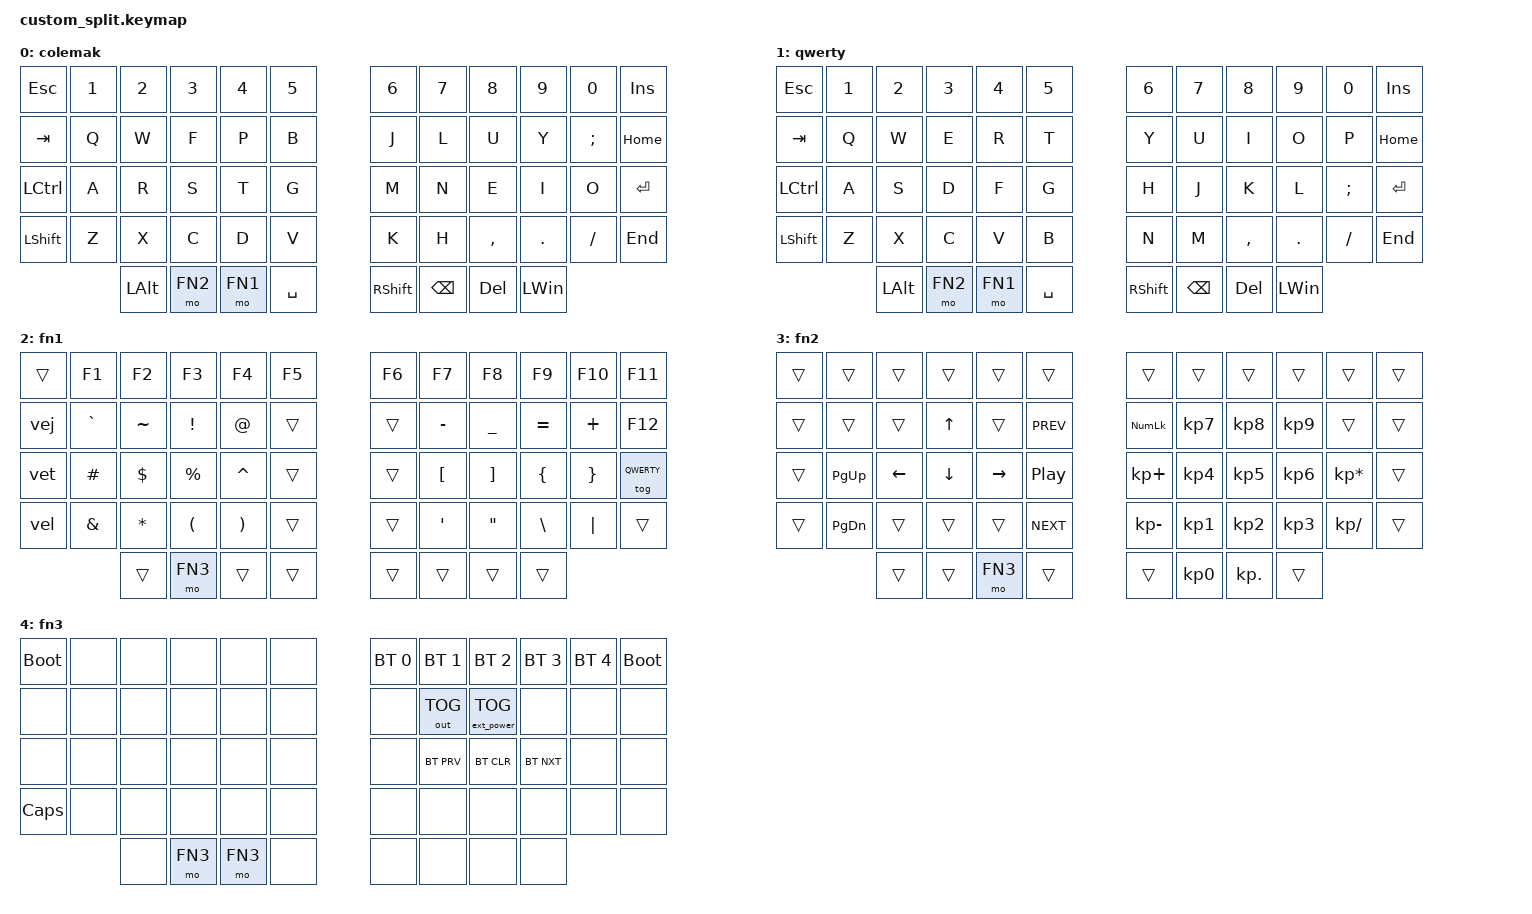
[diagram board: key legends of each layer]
#include <behaviors.dtsi>
#include <dt-bindings/zmk/keys.h>
#include <dt-bindings/zmk/bt.h>
#include <dt-bindings/zmk/outputs.h>
#include <dt-bindings/zmk/ext_power.h>

#define DEFAULT 0
#define QWERTY  1
#define FN1     2
#define FN2     3
#define FN3     4

/ {
    macros {
        vel: vel {
            compatible = "zmk,behavior-macro";
            #binding-cells = <0>;
            bindings
                = <&macro_tap &kp V &kp E &kp L>
                ;
        };

        vet: vet {
            compatible = "zmk,behavior-macro";
            #binding-cells = <0>;
            bindings
                = <&macro_tap &kp V &kp E &kp T>
                ;
        };

        vej: vej {
            compatible = "zmk,behavior-macro";
            #binding-cells = <0>;
            bindings
                = <&macro_tap &kp V &kp E &kp J>
                ;
        };
    };

    keymap {
        compatible = "zmk,keymap";

        default {
            display-name = "colemak";
            bindings = <
                &kp ESC   &kp N1    &kp N2    &kp N3    &kp N4    &kp N5         &kp N6    &kp N7    &kp N8    &kp N9    &kp N0    &kp INS
                &kp TAB   &kp Q     &kp W     &kp F     &kp P     &kp B          &kp J     &kp L     &kp U     &kp Y     &kp SEMI  &kp HOME
                &kp LCTRL &kp A     &kp R     &kp S     &kp T     &kp G          &kp M     &kp N     &kp E     &kp I     &kp O     &kp RET
                &kp LSHFT &kp Z     &kp X     &kp C     &kp D     &kp V          &kp K     &kp H     &kp COMMA &kp DOT   &kp FSLH  &kp END
                                    &kp LALT  &mo FN2   &mo FN1   &kp SPACE      &kp RSHFT &kp BSPC  &kp DEL   &kp LWIN
            >;
        };

        qwerty {
            display-name = "qwerty";
            bindings = <
                &kp ESC   &kp N1    &kp N2    &kp N3    &kp N4    &kp N5         &kp N6    &kp N7    &kp N8    &kp N9    &kp N0    &kp INS
                &kp TAB   &kp Q     &kp W     &kp E     &kp R     &kp T          &kp Y     &kp U     &kp I     &kp O     &kp P     &kp HOME
                &kp LCTRL &kp A     &kp S     &kp D     &kp F     &kp G          &kp H     &kp J     &kp K     &kp L     &kp SEMI  &kp RET
                &kp LSHFT &kp Z     &kp X     &kp C     &kp V     &kp B          &kp N     &kp M     &kp COMMA &kp DOT   &kp FSLH  &kp END
                                    &kp LALT  &mo FN2   &mo FN1   &kp SPACE      &kp RSHFT &kp BSPC  &kp DEL   &kp LWIN
            >;
        };

        fn1 {
            display-name = "fn1";
            bindings = <
                &trans    &kp F1    &kp F2    &kp F3    &kp F4    &kp F5         &kp F6    &kp F7    &kp F8    &kp F9    &kp F10   &kp F11
                &vej      &kp GRAVE &kp TILDE &kp EXCL  &kp AT    &trans         &trans    &kp MINUS &kp UNDER &kp EQUAL &kp PLUS  &kp F12
                &vet      &kp HASH  &kp DLLR  &kp PRCNT &kp CARET &trans         &trans    &kp LBKT  &kp RBKT  &kp LBRC  &kp RBRC  &tog QWERTY
                &vel      &kp AMPS  &kp STAR  &kp LPAR  &kp RPAR  &trans         &trans    &kp APOS  &kp DQT   &kp BSLH  &kp PIPE  &trans
                                    &trans    &mo FN3   &trans    &trans         &trans    &trans    &trans    &trans
            >;
        };

        fn2 {
            display-name = "fn2";
            bindings = <
                &trans      &trans      &trans      &trans      &trans      &trans            &trans      &trans      &trans      &trans      &trans          &trans
                &trans      &trans      &trans      &kp UP      &trans      &kp C_PREV        &kp KP_NUM  &kp KP_N7   &kp KP_N8   &kp KP_N9   &trans          &trans
                &trans      &kp PG_UP   &kp LEFT    &kp DOWN    &kp RIGHT   &kp C_PLAY_PAUSE  &kp KP_PLUS &kp KP_N4   &kp KP_N5   &kp KP_N6   &kp KP_MULTIPLY &trans
                &trans      &kp PG_DN   &trans      &trans      &trans      &kp C_NEXT        &kp KP_MINUS &kp KP_N1  &kp KP_N2   &kp KP_N3   &kp KP_SLASH    &trans
                                        &trans      &trans      &mo FN3     &trans            &trans      &kp KP_N0   &kp KP_DOT  &trans
            >;
        };

        fn3 {
            display-name = "fn3";
            bindings = <
                &bootloader  &none        &none        &none        &none        &none                &bt BT_SEL 0 &bt BT_SEL 1 &bt BT_SEL 2      &bt BT_SEL 3 &bt BT_SEL 4 &bootloader
                &none        &none        &none        &none        &none        &none                &none        &out OUT_TOG &ext_power EP_TOG &none        &none        &none
                &none        &none        &none        &none        &none        &none                &none        &bt BT_PRV   &bt BT_CLR        &bt BT_NXT   &none        &none
                &kp CAPS     &none        &none        &none        &none        &none                &none        &none        &none             &none        &none        &none
                                          &none        &mo FN3      &mo FN3      &none                &none        &none        &none             &none
            >;
        };
    };
};
